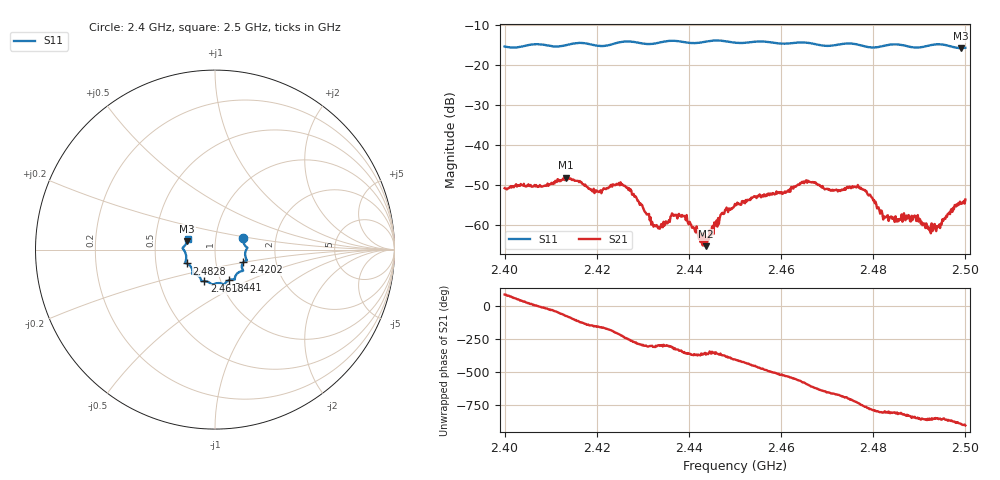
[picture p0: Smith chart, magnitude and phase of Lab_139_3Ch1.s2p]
# Hz S RI R 50
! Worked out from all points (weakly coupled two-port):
!   601 points, 2.4 GHz to 2.5 GHz, reference 50 ohm
!   highest |S21| = -48.25 dB at 2.4133 GHz (marker M1); lowest = -65.4 dB at 2.4437 GHz (marker M2)
!   lowest |S11| = -15.8 dB at 2.499 GHz (marker M3), VSWR 1.39, Z = 36.5 + j3.48 ohm
!   |S11| at or under -10 dB: start of sweep to end of sweep
!   S12 and S22 are empty: the file has one direction only
!   S11 on the Smith chart (normalised r, x): 2.4 GHz: 1.36, +0.18; 2.4202 GHz: 1.36, -0.20; 2.441 GHz: 1.10, -0.39; 2.4618 GHz: 0.84, -0.30; 2.4828 GHz: 0.72, -0.11; 2.5 GHz: 0.73, +0.09
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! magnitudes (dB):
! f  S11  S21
! 2.4 GHz  -15.4  -50.9
! 2.4133 GHz  -15.1  -48.3
! 2.4167 GHz  -14.5  -49.3
! 2.4202 GHz  -15.2  -51.7
! 2.4257 GHz  -14.2  -50.1
! 2.4333 GHz  -14.5  -60.9
! 2.4368 GHz  -14.0  -57.5
! 2.439 GHz  -14.3  -57.8
! 2.441 GHz  -14.6  -60.6
! 2.4437 GHz  -14.2  -65.4
! 2.4473 GHz  -14.0  -57.0
! 2.45 GHz  -14.5  -54.8
! 2.4618 GHz  -14.6  -51.2
! 2.4667 GHz  -14.6  -49.4
! 2.4708 GHz  -15.2  -51.3
! 2.477 GHz  -15.0  -50.6
! 2.4828 GHz  -15.1  -58.1
! 2.4833 GHz  -15.0  -59.1
! 2.4892 GHz  -15.7  -57.9
! 2.4925 GHz  -15.1  -62.1
! 2.499 GHz  -15.8  -54.5
! 2.5 GHz  -15.7  -53.7
